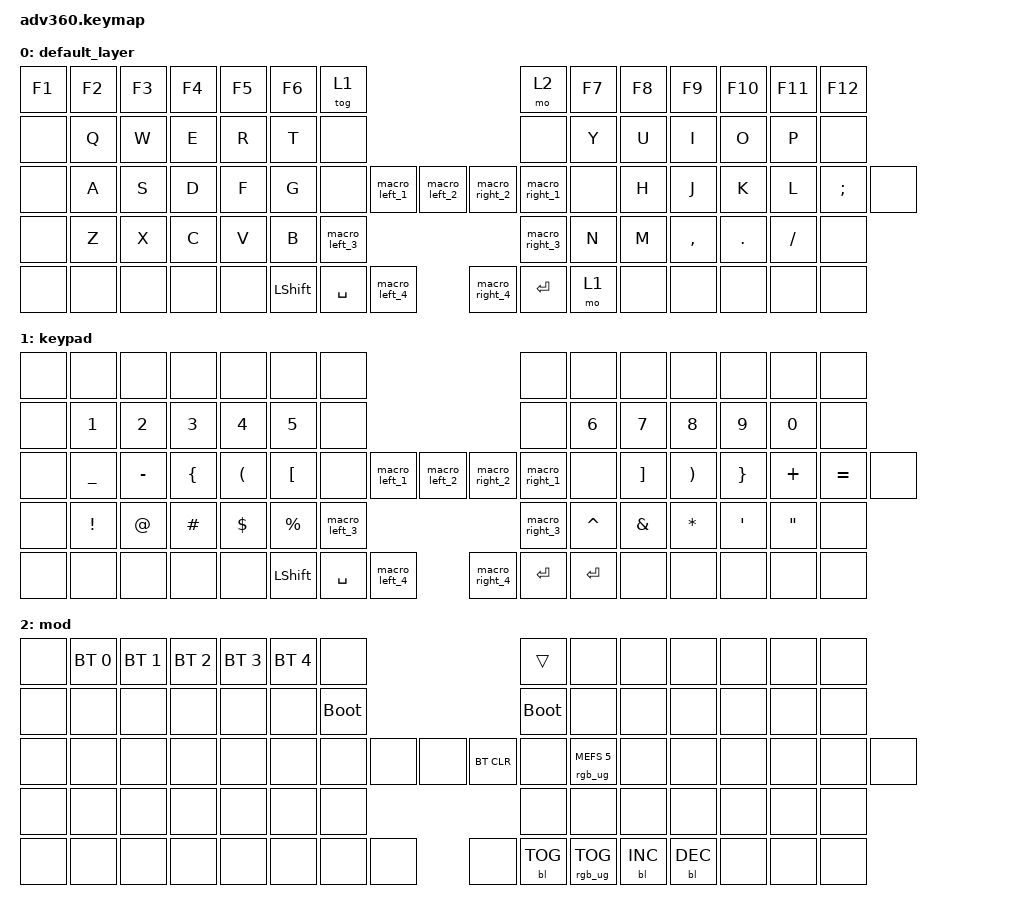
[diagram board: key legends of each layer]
#include <behaviors.dtsi>
#include <dt-bindings/zmk/keys.h>
#include <dt-bindings/zmk/bt.h>
#include <dt-bindings/zmk/rgb.h>
#include <dt-bindings/zmk/backlight.h>

/ {
      combos {
        compatible = "zmk,combos";
        combo_l_ctrl_mac {
            timeout-ms = <30>;
            key-positions = <16 17>;
            bindings = <&kp LCTRL>;
            layers =  <0>, <1>, <2>;
        };
        combo_r_ctrl_mac {
            timeout-ms = <30>;
            key-positions = <24 25>;
            bindings = <&kp RCTRL>;
            layers =  <0>, <1>, <2>;
        };

        combo_l_cmd_mac {
            timeout-ms = <30>;
            key-positions = <30 31>;
            bindings = <&kp LCMD>;
            layers =  <0>, <1>, <2>;
        };
        combo_r_cmd_mac {
            timeout-ms = <30>;
            key-positions = <42 43>;
            bindings = <&kp RCMD>;
            layers =  <0>, <1>, <2>;
        };

        combo_l_opt_mac {
            timeout-ms = <30>;
            key-positions = <48 49>;
            bindings = <&kp LALT>;
            layers =  <0>, <1>, <2>;
        };
        combo_r_opt_mac {
            timeout-ms = <30>;
            key-positions = <56 57>;
            bindings = <&kp RALT>;
            layers =  <0>, <1>, <2>;
        };

        combo_esc {
            timeout-ms = <30>;
            key-positions = <17 18>;
            bindings = <&kp ESC>;
        };
        combo_delete {
            timeout-ms = <30>;
            key-positions = <23 24>;
            bindings = <&kp DEL>;
        };
        combo_tab {
            timeout-ms = <30>;
            key-positions = <31 32>;
            bindings = <&kp TAB>;
        };
        combo_backspace {
            timeout-ms = <30>;
            key-positions = <41 42>;
            bindings = <&kp BACKSPACE>;
        };
        combo_l_grave {
            timeout-ms = <30>;
            key-positions = <32 33>;
            bindings = <&kp GRAVE>;
        };
        combo_l_tilde {
            timeout-ms = <30>;
            key-positions = <18 19>;
            bindings = <&kp TILDE>;
        };
        combo_r_back_slash {
            timeout-ms = <30>;
            key-positions = <40 41>;
            bindings = <&kp BSLH>;
        };
        combo_r_pipe {
            timeout-ms = <30>;
            key-positions = <22 23>;
            bindings = <&kp PIPE>;
        };

        combo_up {
            timeout-ms = <30>;
            key-positions = <49 50>;
            bindings = <&kp UP_ARROW>;
        };
        combo_down {
            timeout-ms = <30>;
            key-positions = <55 56>;
            bindings = <&kp DOWN_ARROW>;
        };
        combo_left {
            timeout-ms = <30>;
            key-positions = <50 51>;
            bindings = <&kp LEFT_ARROW>;
        };
        combo_right {
            timeout-ms = <30>;
            key-positions = <54 55>;
            bindings = <&kp RIGHT_ARROW>;
        };
    };

    behaviors {
      macro_left_1: macro_left_1 {
        compatible = "zmk,behavior-macro";
        label = "macro_left_1";
        #binding-cells = <0>;
        bindings
                = <&macro_press &kp LCTRL>
                , <&macro_press &kp LCMD>
                , <&macro_press &kp LALT>
                , <&macro_tap &kp N1>
                , <&macro_release &kp LCTRL>
                , <&macro_release &kp LCMD>
                , <&macro_release &kp LALT>
                ;
      };
      macro_left_2: macro_left_2 {
        compatible = "zmk,behavior-macro";
        label = "macro_left_2";
        #binding-cells = <0>;
        bindings
                = <&macro_press &kp LCTRL>
                , <&macro_press &kp LCMD>
                , <&macro_press &kp LALT>
                , <&macro_tap &kp N2>
                , <&macro_release &kp LCTRL>
                , <&macro_release &kp LCMD>
                , <&macro_release &kp LALT>
                ;
      };
      macro_left_3: macro_left_3 {
        compatible = "zmk,behavior-macro";
        label = "macro_left_3";
        #binding-cells = <0>;
        bindings
                = <&macro_press &kp LCTRL>
                , <&macro_press &kp LCMD>
                , <&macro_press &kp LALT>
                , <&macro_tap &kp N3>
                , <&macro_release &kp LCTRL>
                , <&macro_release &kp LCMD>
                , <&macro_release &kp LALT>
                ;
      };
      macro_left_4: macro_left_4 {
        compatible = "zmk,behavior-macro";
        label = "macro_left_4";
        #binding-cells = <0>;
        bindings
                = <&macro_press &kp LCTRL>
                , <&macro_press &kp LCMD>
                , <&macro_press &kp LALT>
                , <&macro_tap &kp N4>
                , <&macro_release &kp LCTRL>
                , <&macro_release &kp LCMD>
                , <&macro_release &kp LALT>
                ;
      };

      macro_right_1: macro_right_1 {
        compatible = "zmk,behavior-macro";
        label = "macro_right_1";
        #binding-cells = <0>;
        bindings
                = <&macro_press &kp LCTRL>
                , <&macro_press &kp LCMD>
                , <&macro_press &kp LALT>
                , <&macro_tap &kp N5>
                , <&macro_release &kp LCTRL>
                , <&macro_release &kp LCMD>
                , <&macro_release &kp LALT>
                ;
      };
      macro_right_2: macro_right_2 {
        compatible = "zmk,behavior-macro";
        label = "macro_right_2";
        #binding-cells = <0>;
        bindings
                = <&macro_press &kp LCTRL>
                , <&macro_press &kp LCMD>
                , <&macro_press &kp LALT>
                , <&macro_tap &kp N6>
                , <&macro_release &kp LCTRL>
                , <&macro_release &kp LCMD>
                , <&macro_release &kp LALT>
                ;
      };
      macro_right_3: macro_right_3 {
        compatible = "zmk,behavior-macro";
        label = "macro_right_3";
        #binding-cells = <0>;
        bindings
                = <&macro_press &kp LCTRL>
                , <&macro_press &kp LCMD>
                , <&macro_press &kp LALT>
                , <&macro_tap &kp N7>
                , <&macro_release &kp LCTRL>
                , <&macro_release &kp LCMD>
                , <&macro_release &kp LALT>
                ;
      };
      macro_right_4: macro_right_4 {
        compatible = "zmk,behavior-macro";
        label = "macro_right_4";
        #binding-cells = <0>;
        bindings
                = <&macro_press &kp LCTRL>
                , <&macro_press &kp LCMD>
                , <&macro_press &kp LALT>
                , <&macro_tap &kp N8>
                , <&macro_release &kp LCTRL>
                , <&macro_release &kp LCMD>
                , <&macro_release &kp LALT>
                ;
      };
    };

  keymap {
    compatible = "zmk,keymap";

    default_layer {
      bindings = <
        &kp F1 &kp F2    &kp F3   &kp F4   &kp F5     &kp F6 &tog 1                                                        &mo 2   &kp F7   &kp F8      &kp F9    &kp F10    &kp F11    &kp F12
        &none  &kp Q     &kp W    &kp E    &kp R      &kp T  &none                                                         &none   &kp Y    &kp U       &kp I     &kp O      &kp P      &none
        &none  &kp A     &kp S    &kp D    &kp F      &kp G  &none            &macro_left_1   &macro_left_2  &macro_right_2  &macro_right_1                &none   &kp H    &kp J       &kp K     &kp L      &kp SEMI   &none
        &none  &kp Z     &kp X    &kp C    &kp V      &kp B                                   &macro_left_3  &macro_right_3                       &kp N   &kp M    &kp COMMA   &kp DOT   &kp FSLH   &none
        &none  &none     &none    &none    &none                    &kp LSHFT &kp SPACE       &macro_left_4  &macro_right_4  &kp ENTER &mo 1      &none    &none       &none     &none      &none
      >;
    };

    keypad {
      bindings = <
        &none &none     &none     &none    &none      &none     &none                                                                               &none     &none     &none       &none      &none              &none               &none
        &none &kp N1    &kp N2    &kp N3   &kp N4     &kp N5    &none                                                                               &none     &kp N6    &kp N7      &kp N8     &kp N9             &kp N0              &none
        &none &kp UNDER &kp MINUS &kp LBRC &kp LPAR   &kp LBKT  &none            &macro_left_1  &macro_left_2   &macro_right_2  &macro_right_1                &none     &kp RBKT  &kp RPAR    &kp RBRC   &kp PLUS           &kp EQUAL           &none
        &none &kp EXCL  &kp AT    &kp HASH &kp DOLLAR &kp PRCNT                                 &macro_left_3   &macro_right_3                                &kp CARET &kp AMPS    &kp STAR   &kp SINGLE_QUOTE   &kp DOUBLE_QUOTES   &none
        &none &none     &none     &none    &none                      &kp LSHFT  &kp SPACE      &macro_left_4   &macro_right_4  &kp ENTER &kp ENTER                     &none       &none      &none              &none               &none
      >;
    };

    mod {
      bindings = <
        &none &bt BT_SEL 0 &bt BT_SEL 1 &bt BT_SEL 2 &bt BT_SEL 3 &bt BT_SEL 4 &none                                                                     &trans                 &none        &none        &none        &none &none &none
        &none &none        &none        &none        &none        &none        &bootloader                                                               &bootloader            &none        &none        &none        &none &none &none
        &none &none        &none        &none        &none        &none        &none                   &none &none &bt BT_CLR &none                      &rgb_ug RGB_MEFS_CMD 5 &none        &none        &none        &none &none &none
        &none &none        &none        &none        &none        &none                                      &none &none                                                        &none        &none        &none        &none &none &none
        &none &none        &none        &none        &none                                       &none &none &none &none      &bl BL_TOG &rgb_ug RGB_TOG                                     &bl BL_INC   &bl BL_DEC   &none &none &none
      >;
    };
  };
};
